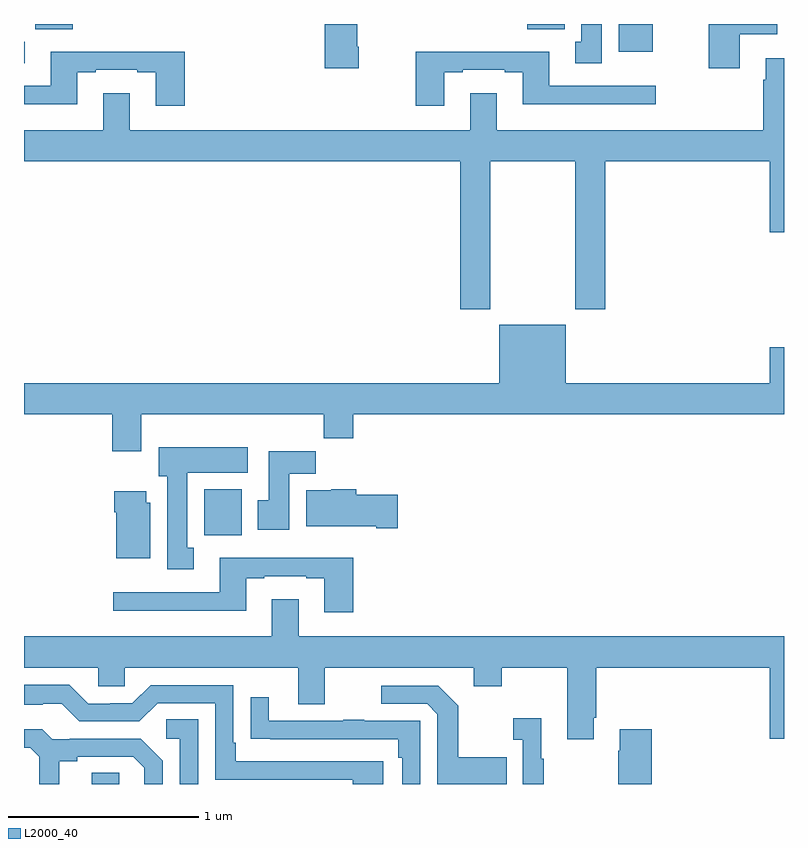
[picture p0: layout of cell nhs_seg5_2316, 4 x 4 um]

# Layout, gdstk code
import gdstk
lib = gdstk.Library(unit=1e-6, precision=1e-09)
def R(c, l, rs):  # rectangles x0, y0, x1, y1
    for r in rs: c.add(gdstk.rectangle(r[:2], r[2:], *l))
def P(c, l, *ps):  # polygons
    for p in ps: c.add(gdstk.Polygon(p, *l))
L2000_40 = (2000, 40)

nhs_seg5_2316 = lib.new_cell('nhs_seg5_2316')
R(nhs_seg5_2316, L2000_40, [(245.357,870.799,245.502,870.857), (245.948,872.108,246.145,872.35), (245,874.593,245.005,874.706), (248.129,874.652,248.308,874.799), (245.06,874.772,245.257,874.799), (247.649,874.772,247.846,874.799)])
P(nhs_seg5_2316, L2000_40, [(246.762,874.678),(246.754,874.678),(246.754,874.799),(246.584,874.799),(246.584,874.566),(246.762,874.566)],
  [(248.041,874.799),(247.934,874.799),(247.934,874.706),(247.901,874.706),(247.901,874.593),(248.041,874.593)],
  [(248.767,874.745),(248.965,874.745),(248.965,874.799),(248.605,874.799),(248.605,874.566),(248.767,874.566)],
  [(247.213,874.545),(247.309,874.545),(247.309,874.557),(247.529,874.557),(247.529,874.545),(247.625,874.545),(247.625,874.376),(248.326,874.376),(248.326,874.473),(247.765,874.473),(247.765,874.654),(247.061,874.654),(247.061,874.368),(247.213,874.368)],
  [(245.846,874.654),(245.141,874.654),(245.141,874.473),(245,874.473),(245,874.376),(245.281,874.376),(245.281,874.545),(245.377,874.545),(245.377,874.557),(245.597,874.557),(245.597,874.545),(245.693,874.545),(245.693,874.368),(245.846,874.368)],
  [(247.455,874.076),(247.9,874.076),(247.9,873.297),(248.06,873.297),(248.06,874.076),(248.924,874.076),(248.924,873.702),(249,873.702),(249,874.618),(248.903,874.618),(248.903,874.505),(248.891,874.505),(248.891,874.24),(247.489,874.24),(247.489,874.435),(247.349,874.435),(247.349,874.24),(245.557,874.24),(245.557,874.435),(245.417,874.435),(245.417,874.24),(245,874.24),(245,874.076),(247.295,874.076),(247.295,873.297),(247.455,873.297)],
  [(245.617,872.744),(246.577,872.744),(246.577,872.62),(246.734,872.62),(246.734,872.744),(249,872.744),(249,873.097),(248.924,873.097),(248.924,872.908),(247.852,872.908),(247.852,873.217),(247.502,873.217),(247.502,872.908),(245,872.908),(245,872.744),(245.465,872.744),(245.465,872.55),(245.617,872.55)],
  [(245.893,872.042),(245.86,872.042),(245.86,872.438),(246.178,872.438),(246.178,872.572),(245.708,872.572),(245.708,872.418),(245.753,872.418),(245.753,871.929),(245.893,871.929)],
  [(246.397,872.432),(246.536,872.432),(246.536,872.551),(246.287,872.551),(246.287,872.292),(246.23,872.292),(246.23,872.136),(246.397,872.136)],
  [(246.967,872.322),(246.749,872.322),(246.749,872.35),(246.618,872.35),(246.618,872.344),(246.485,872.344),(246.485,872.156),(246.854,872.156),(246.854,872.144),(246.967,872.144)],
  [(245.665,872.28),(245.644,872.28),(245.644,872.341),(245.474,872.341),(245.474,872.228),(245.486,872.228),(245.486,871.988),(245.665,871.988)],
  [(246.734,871.99),(246.029,871.99),(246.029,871.809),(245.469,871.809),(245.469,871.712),(246.169,871.712),(246.169,871.881),(246.265,871.881),(246.265,871.893),(246.485,871.893),(246.485,871.881),(246.581,871.881),(246.581,871.704),(246.734,871.704)],
  [(247.999,871.147),(248.012,871.147),(248.012,871.412),(248.924,871.412),(248.924,871.038),(249,871.038),(249,871.576),(246.445,871.576),(246.445,871.771),(246.305,871.771),(246.305,871.576),(245,871.576),(245,871.412),(245.391,871.412),(245.391,871.314),(245.529,871.314),(245.529,871.412),(246.443,871.412),(246.443,871.218),(246.583,871.218),(246.583,871.412),(247.367,871.412),(247.367,871.313),(247.515,871.313),(247.515,871.412),(247.859,871.412),(247.859,871.035),(247.999,871.035)],
  [(246.892,870.918),(246.115,870.918),(246.115,871.015),(246.102,871.015),(246.102,871.32),(245.667,871.32),(245.571,871.224),(245.453,871.224),(245.453,871.221),(245.337,871.221),(245.237,871.321),(245,871.321),(245,871.217),(245.099,871.217),(245.099,871.221),(245.199,871.221),(245.292,871.128),(245.607,871.128),(245.703,871.224),(246.006,871.224),(246.006,870.822),(246.731,870.822),(246.731,870.799),(246.892,870.799)],
  [(247.541,870.939),(247.285,870.939),(247.285,871.211),(247.179,871.317),(246.879,871.317),(246.879,871.221),(247.122,871.221),(247.176,871.167),(247.176,870.799),(247.541,870.799)],
  [(247.086,871.131),(246.791,871.131),(246.791,871.136),(246.679,871.136),(246.679,871.131),(246.289,871.131),(246.289,871.255),(246.193,871.255),(246.193,871.036),(246.295,871.036),(246.295,871.035),(246.97,871.035),(246.97,870.938),(246.99,870.938),(246.99,870.799),(247.086,870.799)],
  [(247.735,870.931),(247.723,870.931),(247.723,871.144),(247.575,871.144),(247.575,871.031),(247.626,871.031),(247.626,870.799),(247.735,870.799)],
  [(245.916,871.139),(245.748,871.139),(245.748,871.038),(245.82,871.038),(245.82,870.799),(245.916,870.799)],
  [(248.303,871.087),(248.135,871.087),(248.135,870.974),(248.128,870.974),(248.128,870.799),(248.303,870.799)],
  [(245.185,870.92),(245.281,870.92),(245.281,870.942),(245.576,870.942),(245.633,870.885),(245.633,870.799),(245.73,870.799),(245.73,870.922),(245.614,871.038),(245.242,871.038),(245.242,871.035),(245.148,871.035),(245.096,871.087),(245,871.087),(245,870.99),(245.034,870.99),(245.081,870.943),(245.081,870.799),(245.185,870.799)])

lib.write_gds('nhs_seg5_2316.gds')
